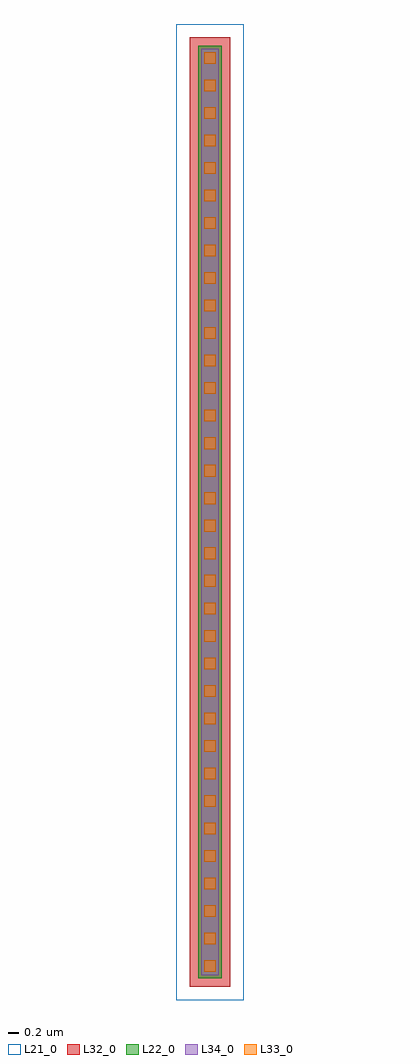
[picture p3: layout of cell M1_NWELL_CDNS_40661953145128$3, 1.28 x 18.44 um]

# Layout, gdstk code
import gdstk
lib = gdstk.Library(unit=1e-6, precision=1e-09)
def R(c, l, rs):  # rectangles x0, y0, x1, y1
    for r in rs: c.add(gdstk.rectangle(r[:2], r[2:], *l))
def A(c, l, x, y, w, h, nx, ny, dx, dy):  # array of equal rectangles
    R(c, l, [(x+i*dx, y+j*dy, x+i*dx+w, y+j*dy+h) for i in range(nx) for j in range(ny)])
L21_0 = (21, 0)
L22_0 = (22, 0)
L32_0 = (32, 0)
L33_0 = (33, 0)
L34_0 = (34, 0)

m1_nwell_cdns_4066195314 = lib.new_cell('M1_NWELL_CDNS_40661953145128$3')
R(m1_nwell_cdns_4066195314, L21_0, [(-0.64,-9.22,0.64,9.22)])
R(m1_nwell_cdns_4066195314, L22_0, [(-0.225,-8.805,0.225,8.805)])
R(m1_nwell_cdns_4066195314, L32_0, [(-0.385,-8.965,0.385,8.965)])
A(m1_nwell_cdns_4066195314, L33_0, -0.11, -8.69, 0.22, 0.22, 1, 34, 0, 0.52)
R(m1_nwell_cdns_4066195314, L34_0, [(-0.17,-8.75,0.17,8.75)])

lib.write_gds('M1_NWELL_CDNS_40661953145128_3.gds')
